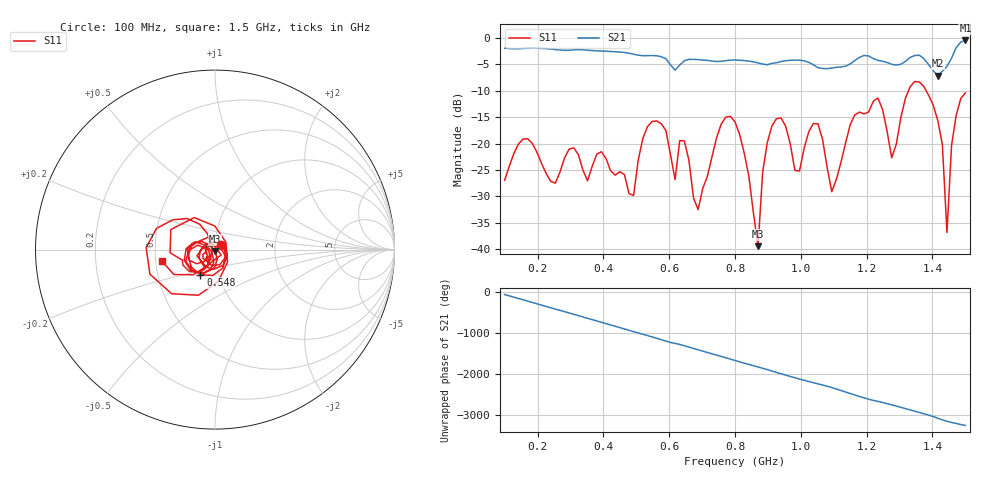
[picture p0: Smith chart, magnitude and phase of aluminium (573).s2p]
! NanoVNA-App
! Date: 2025-09-25 14:59:44
! Start: 100MHz Stop: 1,5GHz Points: 101
! S-Parameter data: F S11 S21 S12 S22
# Hz S RI R 50
!  Frequency  S11_Real  S11_Imag  S21_Real  S21_Imag  S12_Real  S12_Imag  S22_Real  S22_Imag
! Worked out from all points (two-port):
!   101 points, 100 MHz to 1.5 GHz, reference 50 ohm
!   highest |S21| = -0.45 dB at 1.5 GHz (marker M1); lowest = -7.1 dB at 1.416 GHz (marker M2)
!   |S21| within 3 dB of the highest: start of sweep to 569.7 MHz; 1.461 GHz to end of sweep (the widest 2 of 4)
!   lowest |S11| = -39.4 dB at 870 MHz (marker M3), VSWR 1.02, Z = 50.1 - j1.06 ohm
!   |S11| at or under -10 dB: start of sweep to 1.327 GHz; 1.381 GHz to end of sweep
!   S12 and S22 are empty: the file has one direction only
!   S11 on the Smith chart (normalised r, x): 100 MHz: 1.07, +0.06; 548 MHz: 0.82, -0.24; 1.5 GHz: 0.54, -0.08
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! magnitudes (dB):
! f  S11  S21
! 100 MHz  -27.0  -1.9
! 156 MHz  -19.1  -2.0
! 338 MHz  -25.0  -2.2
! 492 MHz  -29.8  -3.1
! 548 MHz  -15.8  -3.3
! 576 MHz  -16.2  -3.5
! 618 MHz  -26.8  -6.1
! 646 MHz  -19.5  -4.3
! 688 MHz  -32.5  -4.1
! 800 MHz  -15.9  -4.1
! 870 MHz  -39.4  -4.7
! 912 MHz  -16.7  -4.8
! 996 MHz  -25.2  -4.2
! 1.038 GHz  -16.2  -5.1
! 1.094 GHz  -29.1  -5.7
! 1.234 GHz  -11.4  -4.2
! 1.276 GHz  -22.7  -5.0
! 1.346 GHz  -8.2  -3.3
! 1.416 GHz  -15.6  -7.1
! 1.444 GHz  -36.8  -5.4
! 1.458 GHz  -20.3  -3.8
! 1.5 GHz  -10.4  -0.5
